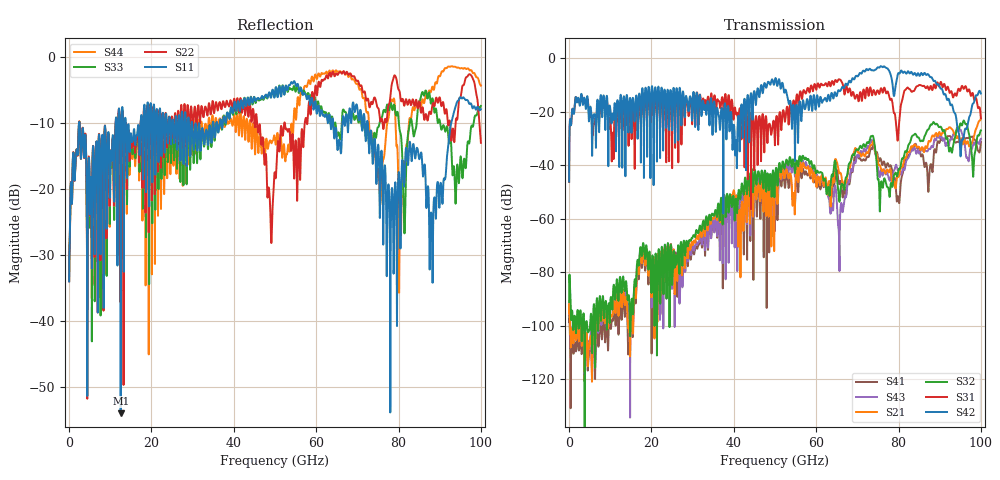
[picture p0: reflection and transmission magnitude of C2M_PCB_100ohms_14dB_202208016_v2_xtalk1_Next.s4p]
! Info: Touchstone file created by Circ.  Input file=Intel_C2M_200G_3p5in_202208016_staggered.circ
# Hz S RI R 50
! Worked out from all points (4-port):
!   10000 points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, 10 MHz to 100 GHz, reference 50 ohm
!   strongest paths, dB at 10 MHz, 25.01 GHz, 50.01 GHz, 75.01 GHz, 100 GHz:
!     S42: -46.1, -26.9, -7.8, -3.3, -13.1
!     S31: -46.2, -35.5, -31.7, -12.1, -22.4
!     S32: -91.2, -84.8, -46.0, -45.3, -26.9
!     S21: -94.5, -78.9, -47.3, -38.8, -22.6
!     S43: -94.3, -86.2, -54.6, -40.9, -30.1
!     S41: -95.7, -74.2, -53.3, -37.0, -31.3
!   lowest |S11| = -54.0 dB at 12.53 GHz (marker M1), VSWR 1.00, Z = 50 + j0.194 ohm
!   |S11| at or under -10 dB: 2.531 GHz to 11.3 GHz (8.772 GHz wide, 127 % of centre); 29.85 GHz to 34.93 GHz (5.077 GHz wide, 15.7 % of centre); 72.53 GHz to 92.84 GHz (20.32 GHz wide, 24.6 % of centre)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
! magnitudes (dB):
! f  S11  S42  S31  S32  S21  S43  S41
! 10 MHz  -34.1  -46.1  -46.2  -91.2  -94.5  -94.3  -95.7
! 12.53 GHz  -54.0  -13.6  -16.8  -83.9  -88.3  -86.5  -92.1
! 53.24 GHz  -4.5  -16.3  -23.5  -40.1  -44.6  -43.5  -47.7
! 65.53 GHz  -12.6  -12.0  -7.8  -52.0  -42.7  -66.0  -46.9
! 76.12 GHz  -18.6  -3.3  -12.7  -48.3  -42.0  -43.9  -39.8
! 95.3 GHz  -6.3  -31.8  -10.5  -25.0  -30.2  -27.7  -30.1
! 100 GHz  -7.9  -13.1  -22.4  -26.9  -22.6  -30.1  -31.3
